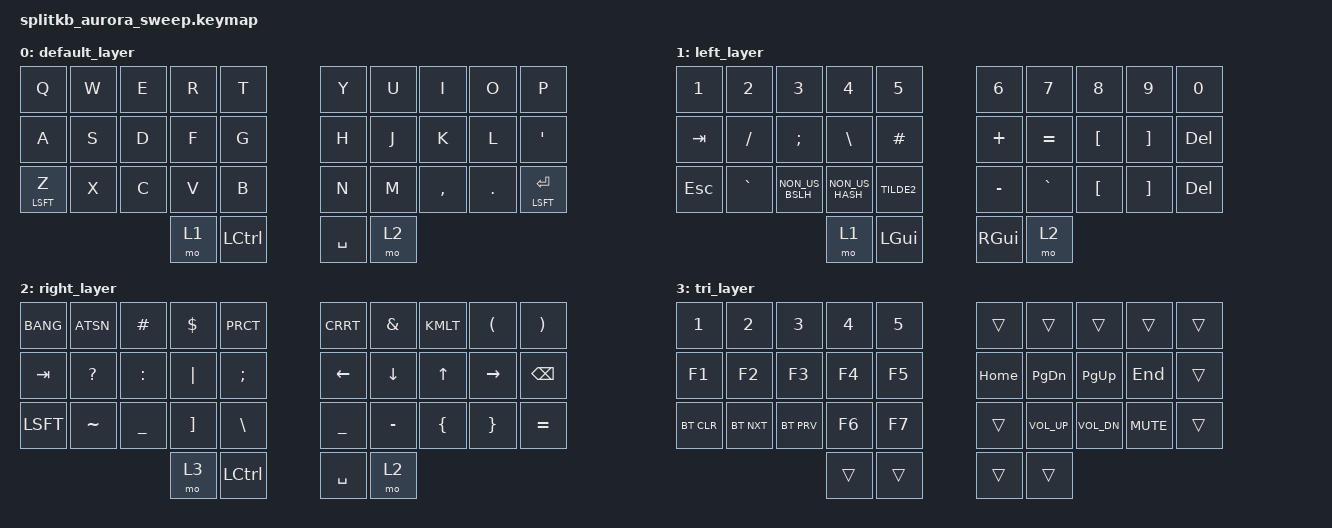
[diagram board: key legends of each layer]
/*
 * Copyright (c) 2022 The ZMK Contributors
 *
 * SPDX-License-Identifier: MIT
 */

#include <behaviors.dtsi>
#include <dt-bindings/zmk/keys.h>
#include <dt-bindings/zmk/bt.h>


&mt {
  //  flavor = "tap-preferred";
   // tapping_term_ms = <200>;
};

/ { 

    combos {
        compatible = "zmk,combos";
        combo_esc {
            timeout-ms = <50>;
            key-positions = <0 1>;
            bindings = <&kp ESC>;
        };
        
         combo_tab {
            timeout-ms = <50>;
            key-positions = <10 11>;
            bindings = <&kp TAB>;
        };
        
            combo_ralt {
            timeout-ms = <50>;
            key-positions = <17 16>;
            bindings = <&kp RALT>;
        };
        
                    combo_lalt {
            timeout-ms = <50>;
            key-positions = <11 12>;
            bindings = <&kp LALT>;
        };
        
                           combo_lgui {
            timeout-ms = <50>;
            key-positions = <12 13>;
            bindings = <&kp LGUI>;
        };
        
        
       combo_rgui {
            timeout-ms = <50>;
            key-positions = <17 18>;
            bindings = <&kp RGUI>;
        };
        

        
    };

        keymap {
                compatible = "zmk,keymap";
                
       		default_layer {
		bindings = <
		&kp Q &kp W &kp E &kp R &kp T 						&kp Y &kp U  &kp I    &kp O   &kp P 
		&kp A &kp S &kp D &kp F &kp G 			        	        &kp H &kp J &kp K &kp L &kp QUOT
		&mt LSFT Z &kp X &kp C &kp V &kp B				        &kp N &kp M  &kp CMMA &kp DOT &mt LSFT RET
          				&mo 1 &kp LCTL  				&kp SPC &mo 2 
		>;
		};

       		left_layer {
		bindings = <
		&kp NUM_1  &kp NUM_2   &kp NUM_3    &kp NUM_4    &kp NUM_5		&kp NUM_6 &kp NUM_7 &kp NUM_8 &kp NUM_9 &kp NUM_0 
		&kp TAB    &kp FSLH   &kp SEMI      &kp BSLH     &kp HASH 		&kp PLUS &kp EQL  &kp LBKT &kp RBKT  &kp DEL 
		&kp ESC    &kp GRAVE  &kp NON_US_BSLH &kp NON_US_HASH  &kp TILDE2 	&kp MINUS &kp GRAVE &kp LBKT &kp RBKT  &kp DEL 
					    &mo 1  &kp LGUI  					&kp RGUI &mo 2 
		>;
		};
		
		right_layer {
		bindings = <
		&kp BANG  &kp ATSN &kp HASH  &kp DLLR  &kp PRCT    			&kp CRRT  &kp AMPS &kp KMLT &kp LPRN &kp RPRN 
		&kp TAB  &kp QMARK  &kp COLN  &kp PIPE  &kp SCLN 			&kp LEFT &kp DOWN  &kp UP  &kp RIGHT &kp BKSP
		&kp LSFT  &kp TILDE &kp UNDER &kp RBKT   &kp BSLH    			&kp UNDER &kp MINUS &kp LBRC &kp RBRC &kp EQUAL
					  &mo 3 &kp LCTL  				&kp SPC  &mo 2 
		>;
		};	
		
		tri_layer {
		bindings = <
		&kp NUM_1  &kp NUM_2    &kp NUM_3    &kp NUM_4    &kp NUM_5 			&trans &trans   &trans   &trans  &trans
		&kp F1 &kp F2 &kp F3 &kp F4 &kp F5  						&kp HOME &kp PG_DN  &kp PG_UP &kp END &trans 
		&bt BT_CLR  &bt BT_NXT &bt BT_PRV &kp F6 &kp F7   				&trans &kp K_VOL_UP  &kp K_VOL_DN  &kp K_MUTE &trans   
					 &trans &trans  					&trans &trans 
		>;
		};	
        
	};
};
